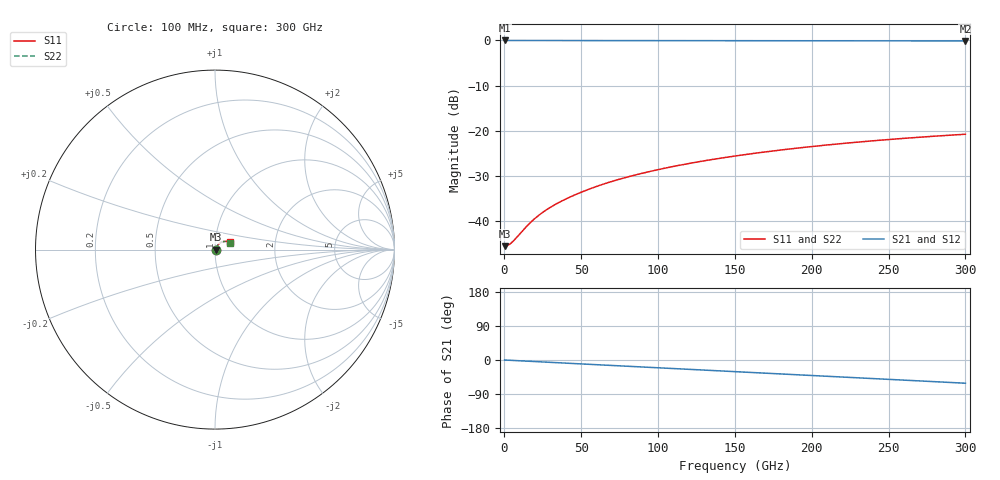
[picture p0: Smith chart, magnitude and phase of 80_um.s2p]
! Created with skrf (http://scikit-rf.org).
# Hz S RI R 50.0
!freq ReS11 ImS11 ReS21 ImS21 ReS12 ImS12 ReS22 ImS22
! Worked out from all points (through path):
!   3000 points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, 100 MHz to 300 GHz, reference 50 ohm
!   highest |S21| = -0.05 dB at 100 MHz (marker M1); lowest = -0.1 dB at 300 GHz (marker M2)
!   group delay of S21, straight-line fit = 566 fs
!   lowest |S11| = -45.5 dB at 100 MHz (marker M3), VSWR 1.01, Z = 50.5 + j0.00456 ohm
!   |S11| at or under -10 dB: start of sweep to end of sweep
!   |S22| runs from -45.4 to -20.9 dB; largest |S21 - S12| = 0.00058
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1e8  0.00531 4.51e-05  0.9947 -0.000368  0.9947 -0.000368  0.00535 4.39e-05
2.5e9  0.00534 0.00113  0.9947 -0.00921  0.9946 -0.00919  0.00538 0.0011
5e9  0.00543 0.00224  0.9945 -0.0184  0.9944 -0.0184  0.00546 0.00219
7.2e9  0.00556 0.00321  0.9942 -0.0265  0.9942 -0.0264  0.00558 0.00313
1.67e10  0.00649 0.00709  0.9919 -0.0609  0.992 -0.0609  0.00647 0.00696
2.09e10  0.00703 0.00863  0.9906 -0.0759  0.9906 -0.0759  0.00699 0.00849
2.54e10  0.00763 0.0102  0.9889 -0.0919  0.9889 -0.0919  0.00759 0.01
3.05e10  0.00831 0.0119  0.9867 -0.1099  0.9867 -0.1099  0.00828 0.0117
3.62e10  0.00908 0.0136  0.984 -0.1299  0.984 -0.1299  0.00907 0.0135
4.27e10  0.00997 0.0156  0.9805 -0.1527  0.9804 -0.1527  0.00997 0.0154
5.01e10  0.011 0.0179  0.9758 -0.1785  0.9758 -0.1785  0.011 0.0176
6.09e10  0.0128 0.021  0.9676 -0.2159  0.9677 -0.2159  0.0128 0.0206
7.25e10  0.0149 0.0242  0.9574 -0.2555  0.9574 -0.2555  0.0148 0.0238
8.55e10  0.0174 0.0275  0.9441 -0.2993  0.9441 -0.2994  0.0174 0.027
1.001e11  0.0206 0.031  0.9268 -0.3478  0.9268 -0.3478  0.0205 0.0304
1.235e11  0.0263 0.036  0.8939 -0.4233  0.894 -0.4234  0.0262 0.0353
1.501e11  0.0336 0.0405  0.8492 -0.5054  0.8493 -0.5054  0.0334 0.0397
1.739e11  0.0407 0.0435  0.8029 -0.5748  0.803 -0.575  0.0405 0.0426
2.001e11  0.049 0.0456  0.7453 -0.6464  0.7455 -0.6465  0.0489 0.0445
2.501e11  0.0657 0.0457  0.6184 -0.7667  0.6185 -0.7669  0.0655 0.0444
2.766e11  0.0746 0.0436  0.5432 -0.8206  0.5433 -0.8212  0.0743 0.0422
3e11  0.0821 0.0405  0.4726 -0.8623  0.4729 -0.8625  0.0818 0.039
